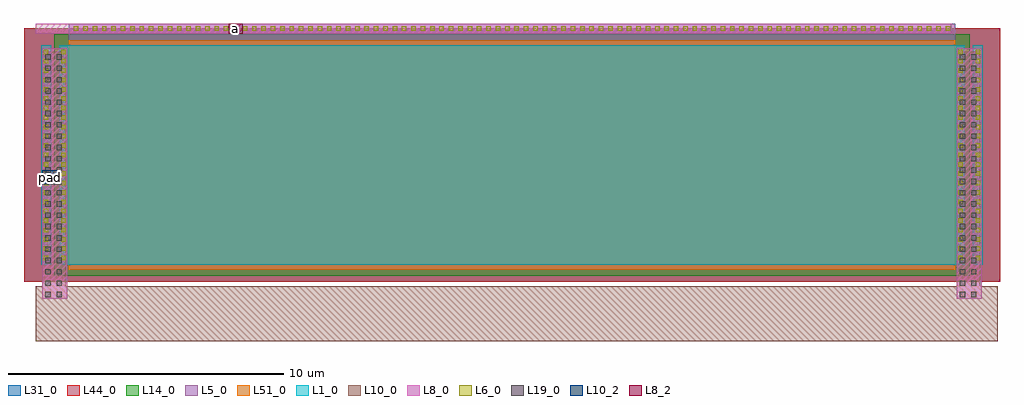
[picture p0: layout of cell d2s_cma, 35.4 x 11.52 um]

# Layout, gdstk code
import gdstk
lib = gdstk.Library(unit=1e-6, precision=1e-09)
def R(c, l, rs):  # rectangles x0, y0, x1, y1
    for r in rs: c.add(gdstk.rectangle(r[:2], r[2:], *l))
def A(c, l, x, y, w, h, nx, ny, dx, dy):  # array of equal rectangles
    R(c, l, [(x+i*dx, y+j*dy, x+i*dx+w, y+j*dy+h) for i in range(nx) for j in range(ny)])
L1_0 = (1, 0)
L5_0 = (5, 0)
L6_0 = (6, 0)
L8_0 = (8, 0)
L8_2 = (8, 2)
L10_0 = (10, 0)
L10_2 = (10, 2)
L14_0 = (14, 0)
L19_0 = (19, 0)
L31_0 = (31, 0)
L44_0 = (44, 0)
L51_0 = (51, 0)

d2s_cma = lib.new_cell('d2s_cma')
R(d2s_cma, L1_0, [(3.19,42.08,3.55,50.04), (3.85,42.08,36.69,50.04), (36.99,42.08,37.35,50.04)])
R(d2s_cma, L5_0, [(4.19,41.9,36.35,50.82)])
A(d2s_cma, L6_0, 3.29, 42.24, 0.16, 0.16, 1, 23, 0, 0.34)
A(d2s_cma, L6_0, 3.92, 42.24, 0.16, 0.16, 1, 23, 0, 0.34)
A(d2s_cma, L6_0, 36.46, 42.24, 0.16, 0.16, 1, 23, 0, 0.34)
A(d2s_cma, L6_0, 37.09, 42.24, 0.16, 0.16, 1, 23, 0, 0.34)
A(d2s_cma, L6_0, 4.38, 50.56, 0.16, 0.16, 94, 1, 0.34, 0)
R(d2s_cma, L8_0, [(3.24,40.85,4.13,49.93), (36.41,40.85,37.3,49.93), (3,50.46,36.21,50.82)])
R(d2s_cma, L8_2, [(10,50.46,10.5,50.82)])
R(d2s_cma, L10_0, [(3,39.3,37.88,41.3), (3.24,39.3,4.08,49.8), (36.41,39.3,37.25,49.8)])
R(d2s_cma, L10_2, [(3.24,45,3.8,45.5)])
R(d2s_cma, L14_0, [(3.67,41.68,36.87,50.44)])
A(d2s_cma, L19_0, 3.345, 40.905, 0.19, 0.19, 1, 22, 0, 0.41)
A(d2s_cma, L19_0, 3.755, 40.905, 0.19, 0.19, 1, 22, 0, 0.41)
A(d2s_cma, L19_0, 36.515, 40.905, 0.19, 0.19, 1, 22, 0, 0.41)
A(d2s_cma, L19_0, 36.925, 40.905, 0.19, 0.19, 1, 22, 0, 0.41)
R(d2s_cma, L31_0, [(2.57,41.46,37.97,50.66)])
R(d2s_cma, L44_0, [(2.57,41.46,37.97,50.66)])
R(d2s_cma, L51_0, [(4.19,41.9,36.35,50.22)])
d2s_cma.add(gdstk.Label('pad', (3.52,45.25), layer=10, texttype=25))
d2s_cma.add(gdstk.Label('a', (10.25,50.64), layer=8, texttype=25))

lib.write_gds('d2s_cma.gds')
